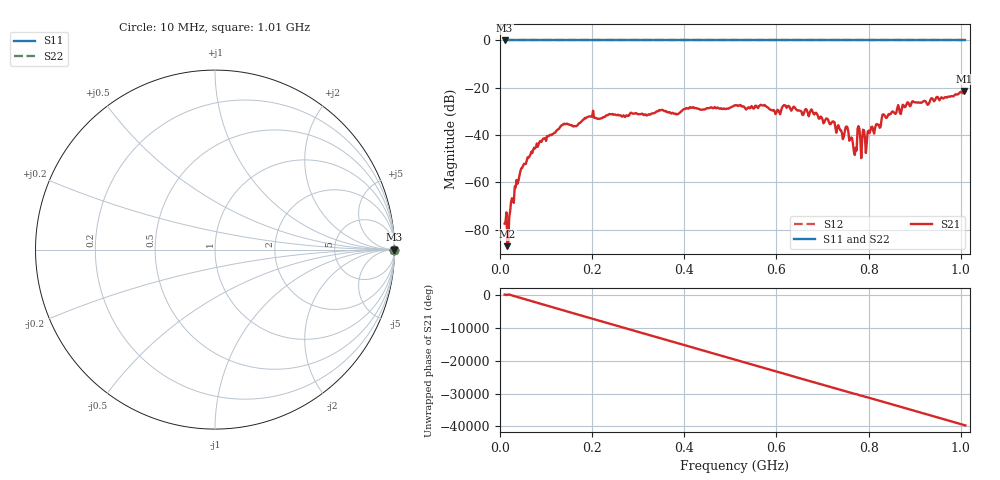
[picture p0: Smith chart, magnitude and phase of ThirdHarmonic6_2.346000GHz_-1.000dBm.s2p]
! 8/17/2025 3:30:14 AM
! C:\ANRITSUVNA\TEMP\TEMP.S2P
! CHANNEL.1
! TR.MEASUREMENT
! RAW.DATA
! RF.CORRECTION.OFF
! AVERAGING.OFF
! IF.BANDWIDTH: 5KHZ
! SWEEPTYPE:  FREQ.SWEEP(Linear)
! Reference Plane Port Info
! PORT:  PORT1  PORT2
! DISTANCE:  0  m  0  m
! TIME:  0  s  0  s
! PHASE.OFFSET:  0  deg.  0  deg.
! LOSS:  0  dB  0  dB
! REF.LOSS:  0  dB  0  dB
! REF.FREQ:  0  Hz  0  Hz
! Power Info
! POWER:  -20  dBm  -20  dBm
! EFF.POWER:  -20  dBm  -20  dBm
! SOURCE.ATTEN:  0  dB  0  dB
! TEST.ATTEN:  0  dB  0  dB
# GHZ S RI R 50.0
! FREQ.GHZ  S11RE  S11IM  S21RE  S21IM  S12RE  S12IM  S22RE  S22IM
!; PortSelection: Port_12
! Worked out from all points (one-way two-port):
!   501 points, 10 MHz to 1.01 GHz, reference 50 ohm
!   highest |S21| = -21.35 dB at 1.008 GHz (marker M1); lowest = -86.9 dB at 16 MHz (marker M2)
!   lowest |S11| = 0.0 dB at 10 MHz (marker M3)
!   |S11| at or under -10 dB: nowhere
!   |S22| runs from 0.0 to 0.0 dB; largest |S21 - S12| = 1.1
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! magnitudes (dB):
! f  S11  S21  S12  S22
! 10 MHz  0.0  -77.4  0.0  0.0
! 16 MHz  0.0  -86.9  0.0  0.0
! 46 MHz  0.0  -54.1  0.0  0.0
! 76 MHz  0.0  -45.6  0.0  0.0
! 136 MHz  0.0  -35.7  0.0  0.0
! 178 MHz  0.0  -33.9  0.0  0.0
! 344 MHz  0.0  -29.8  0.0  0.0
! 384 MHz  0.0  -31.2  0.0  0.0
! 416 MHz  0.0  -28.5  0.0  0.0
! 510 MHz  0.0  -27.5  0.0  0.0
! 678 MHz  0.0  -29.8  0.0  0.0
! 722 MHz  0.0  -34.2  0.0  0.0
! 742 MHz  0.0  -39.0  0.0  0.0
! 752 MHz  0.0  -36.3  0.0  0.0
! 770 MHz  0.0  -48.4  0.0  0.0
! 778 MHz  0.0  -36.2  0.0  0.0
! 796 MHz  0.0  -42.9  0.0  0.0
! 804 MHz  0.0  -37.9  0.0  0.0
! 844 MHz  0.0  -31.0  0.0  0.0
! 898 MHz  0.0  -26.0  0.0  0.0
! 1.008 GHz  0.0  -21.4  0.0  0.0
! 1.01 GHz  0.0  -21.7  0.0  0.0
